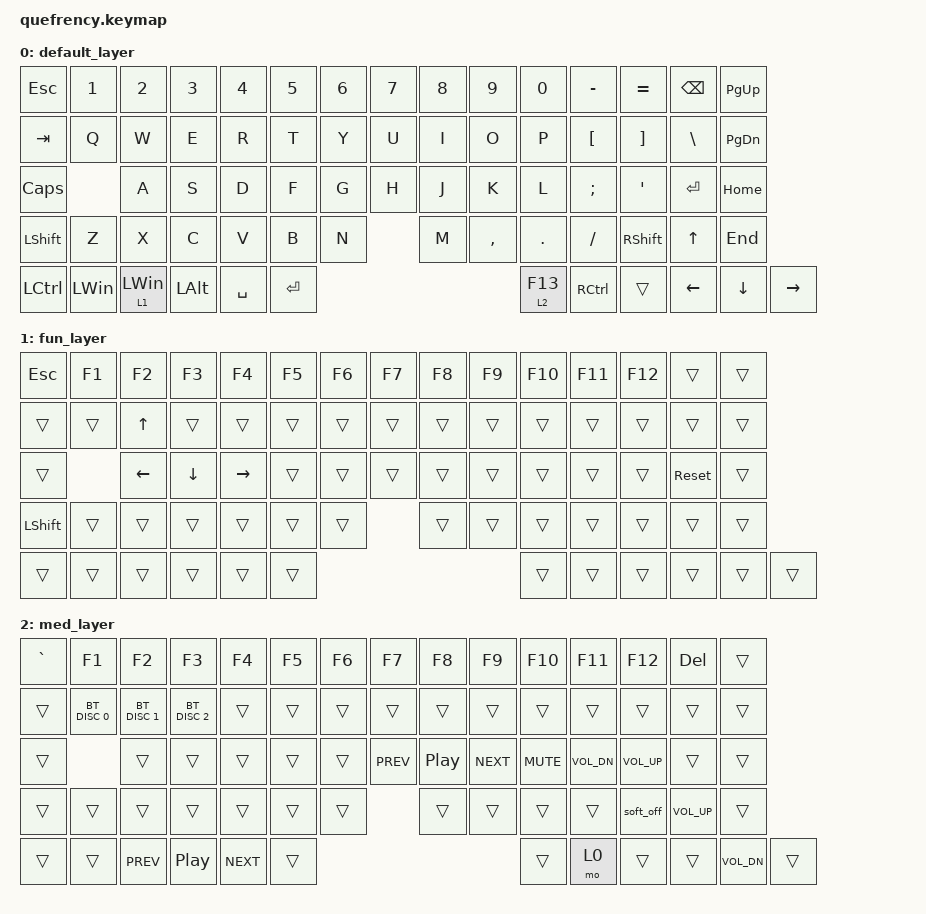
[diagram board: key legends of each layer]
/*
 * Copyright (c) 2020 The ZMK Contributors
 *
 * SPDX-License-Identifier: MIT
 */

#include <behaviors.dtsi>
#include <dt-bindings/zmk/bt.h>
#include <dt-bindings/zmk/keys.h>

#define DEFAULT 0
#define MED   1
#define FUN   2

/ {
    keymap {
        compatible = "zmk,keymap";

        // ----------------------------------------------      -----------------------------------------------------
        // | ESC  |  1   |  2  |  3   |  4  |  5  |  6  |      |  7  |  8  |  9  |  0  |  -  |  =  |  BKSPC |  `   |
        // | TAB   |  Q   |  W  |  E   |  R  |  T  |        |  Y  |  U  |  I  |  O  |  P  |  [  |  ]  |  \  | DEL  |
        // | CAPS  |  A   |  S  |  D   |  F  |  G  |        |  H  |  J  |  K  |  L  |  ;  |  '  |   ENTER  | PGUP |
        // | SHIFT   |  Z   |  X  |  C  |  V   |  B  |        |  N  |  M  |  ,  |  .  |  /  |  RSHFT  |  UP | PGDN |
        // |  LCTRL   | LGUI | LALT  | FN|   SPACE  |        |    SPACE    | RALT | FN | RCTRL | LFT | DWN | RGHT |
        // -------------------------------------------        ------------------------------------------------------

        default_layer {
            bindings = <
&kp ESC       &kp N1               &kp N2                 &kp N3         &kp N4               &kp N5         &kp N6       &kp N7     &kp N8  &kp N9     &kp N0     &kp MINUS  &kp EQUAL             &kp BSPC            &kp PG_UP
&kp TAB                     &kp Q                  &kp W          &kp E                &kp R          &kp T               &kp Y      &kp U   &kp I      &kp O      &kp P      &kp LBKT              &kp RBKT  &kp BSLH             &kp PAGE_DOWN
&kp CAPSLOCK                       &kp A                  &kp S          &kp D                &kp F          &kp G        &kp H      &kp J   &kp K      &kp L      &kp SEMI   &kp SQT               &kp RET             &kp HOME
&kp LSHFT                          &kp Z                  &kp X          &kp C                &kp V          &kp B        &kp N      &kp M   &kp COMMA  &kp DOT    &kp FSLH              &kp RSHFT            &kp UP    &kp END
&kp LCTRL     &kp LEFT_WIN         &lt 1 LEFT_WIN                        &kp LEFT_ALT                        &kp SPACE    &kp ENTER                     &lt 2 F13  &kp RCTRL  &trans                &kp LEFT            &kp DOWN   &kp RIGHT
            >;
        };

        fun_layer {
            bindings = <
&kp ESCAPE      &kp F1          &kp F2                  &kp F3                  &kp F4                   &kp F5          &kp F6    &kp F7  &kp F8  &kp F9  &kp F10  &kp F11  &kp F12          &trans              &trans
&trans                  &trans            &kp UP_ARROW                  &trans                   &trans          &trans            &trans  &trans  &trans  &trans   &trans   &trans           &trans      &trans          &trans
&trans                          &kp LEFT                &kp DOWN_ARROW          &kp RIGHT_ARROW          &trans          &trans    &trans  &trans  &trans  &trans   &trans   &trans           &sys_reset          &trans
&kp LEFT_SHIFT                  &trans                  &trans                  &trans                   &trans          &trans    &trans  &trans  &trans  &trans   &trans            &trans              &trans  &trans
&trans          &trans          &trans                                          &trans                                   &trans    &trans                  &trans   &trans   &trans           &trans              &trans  &trans
            >;
        };

        med_layer {
            bindings = <
&kp GRAVE  &kp F1                 &kp F2                     &kp F3                 &kp F4            &kp F5          &kp F6        &kp F7      &kp F8    &kp F9      &kp F10     &kp F11       &kp F12                  &kp DEL                &trans
&trans             &bt BT_DISC 0              &bt BT_DISC 1          &bt BT_DISC 2            &trans          &trans                &trans      &trans    &trans      &trans      &trans        &trans                   &trans   &trans                      &trans
&trans                            &trans                     &trans                 &trans            &trans          &trans        &kp C_PREV  &kp C_PP  &kp C_NEXT  &kp C_MUTE  &kp C_VOL_DN  &kp C_VOL_UP             &trans                 &trans
&trans                            &trans                     &trans                 &trans            &trans          &trans        &trans      &trans    &trans      &trans      &trans                      &soft_off           &kp C_VOL_UP  &trans
&trans     &trans                 &kp C_PREV                                        &kp C_PP                          &kp C_NEXT    &trans                            &trans      &mo 0         &trans                   &trans                 &kp C_VOL_DN  &trans
            >;
        };
    };
};
